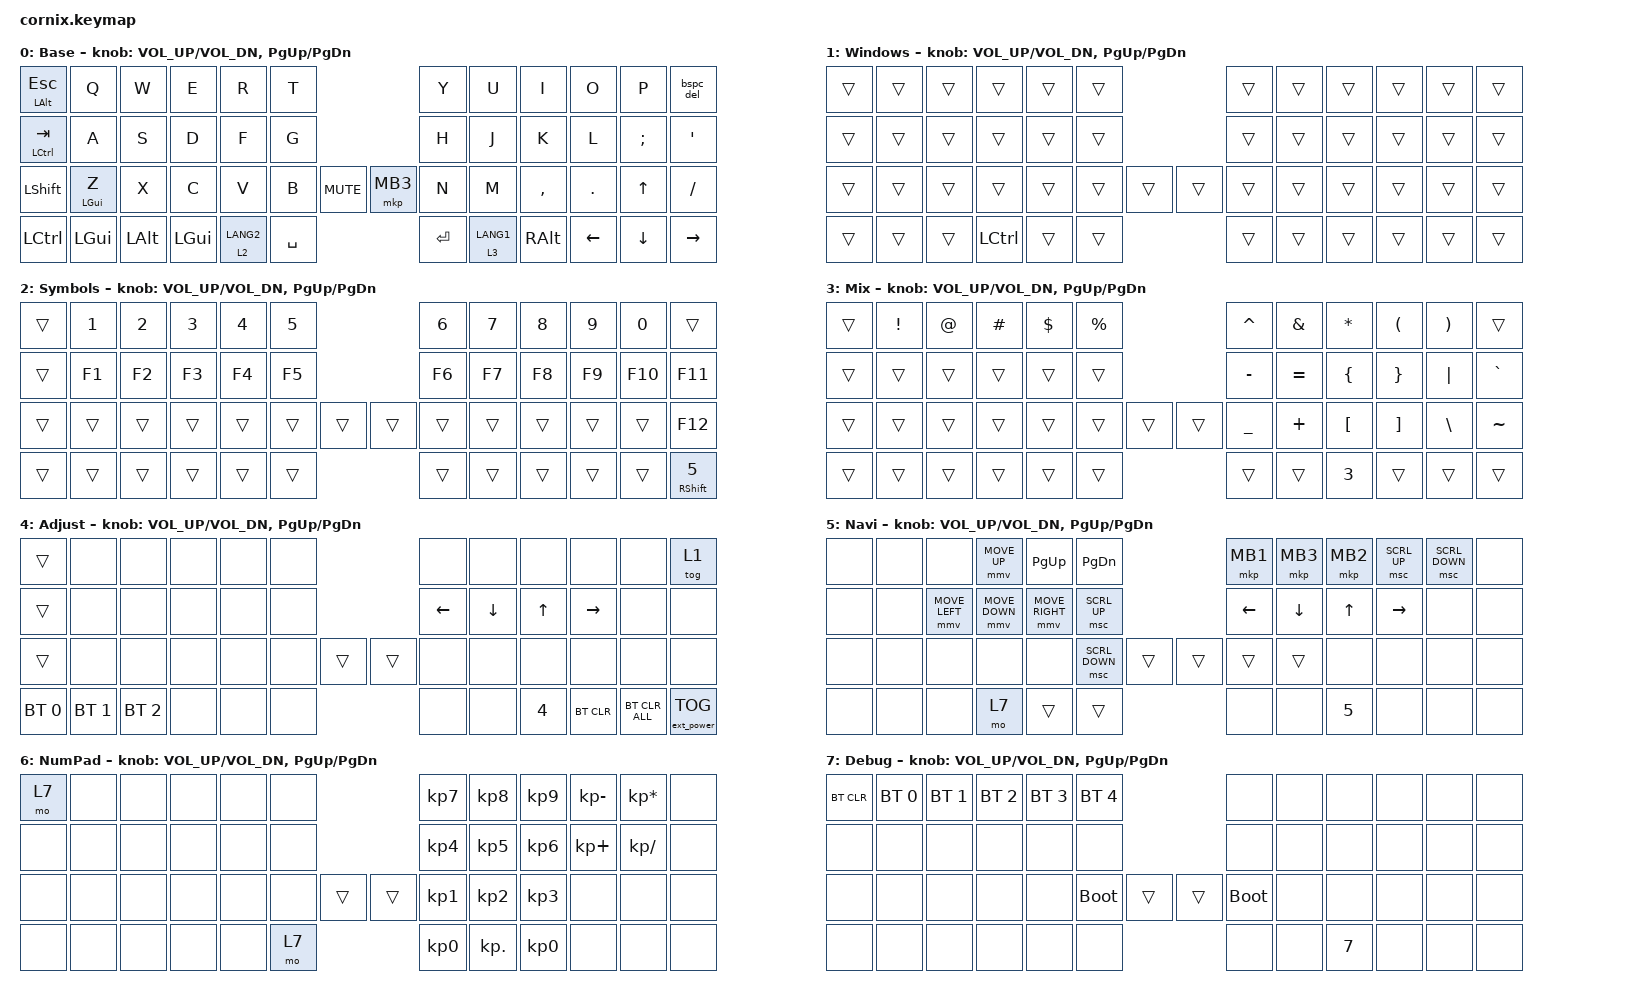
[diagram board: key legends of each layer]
/*
 * Copyright (c) 2020 The ZMK Contributors
 *
 * SPDX-License-Identifier: MIT
 */

#include "zmk-helpers/helper.h"
#include "includes/cornix54.h"
#include <behaviors.dtsi>
#include <dt-bindings/zmk/bt.h>
#include <dt-bindings/zmk/keys.h>

// tap windows for ctl alt and gui

#define HM_TAPPING_TERM 250
#define HM_TAPPING_REPEAT 210

// quick tapping for shift

#define HM_TAPPING_TERM_FAST 200
#define HM_PRIOR_IDLE 70
#define BASE 0
#define WIN 1
#define LOWER 2
#define RAISE 3
#define ADJUST 4
#define NAVI   5
#define NUM    6
#define DEBUG  7

// https://github.com/urob/zmk-config/tree/main#timeless-homerow-mods

#define KEYS_L LT0 LT1 LT2 LT3 LT4 LT5 LM0 LM1 LM2 LM3 LM4 LM5 LB0 LB1 LB2 LB3 LB4 LB5  // left hand
#define KEYS_R RT0 RT1 RT2 RT3 RT4 RT5 RM0 RM1 RM2 RM3 RM4 RM5 RB0 RB1 RB2 RB3 RB4 RB5  // right hand
#define THUMBS LH1 LH0 RH0 RH1
#define KEYS_T LH1 LH0 RH0 RH1
#define ZMK_POINTING_DEFAULT_SCRL_VAL 15

#include <behaviors.dtsi>
#include <dt-bindings/zmk/bt.h>
#include <dt-bindings/zmk/ext_power.h>
#include <dt-bindings/zmk/keys.h>
#include <dt-bindings/zmk/pointing.h>

/ {

    behaviors {
        bspc_del: backspace_delete {
            compatible = "zmk,behavior-mod-morph";
            #binding-cells = <0>;
            bindings = <&kp BACKSPACE>, <&kp DELETE>;
            mods = <(MOD_LSFT|MOD_RSFT)>;
            keep-mods = <(MOD_RSFT)>;
        };
        hm_l: homerow_mods_left {
            compatible = "zmk,behavior-hold-tap";
            #binding-cells = <2>;
            bindings = <&kp>, <&kp>;

            flavor = "balanced";
            tapping-term-ms = <HM_TAPPING_TERM>;
            quick-tap-ms = <200>;                // repeat on tap-into-hold
            require-prior-idle-ms = <HM_PRIOR_IDLE>;
            hold-trigger-key-positions = <KEYS_R KEYS_T>;
            hold-trigger-on-release;
        };

        hm_r: homerow_mods_right {
            compatible = "zmk,behavior-hold-tap";
            #binding-cells = <2>;
            bindings = <&kp>, <&kp>;

            flavor = "balanced";
            tapping-term-ms = <HM_TAPPING_TERM>;
            quick-tap-ms = <200>;
            require-prior-idle-ms = <HM_PRIOR_IDLE>;
            hold-trigger-key-positions = <KEYS_L KEYS_T>;
            hold-trigger-on-release;
        };

        // Positional Homerow mods for shift
        // Use faster tapping term and disable some features that may
        // cause false negatives.

        hm_shift_l: hm_shift_l {
            compatible = "zmk,behavior-hold-tap";
            #binding-cells = <2>;
            bindings = <&kp>, <&kp>;

            //flavor = "balanced";

            flavor = "balanced";
            tapping-term-ms = <HM_TAPPING_TERM_FAST>;
            quick-tap-ms = <200>;
            require-prior-idle-ms = <HM_PRIOR_IDLE>;
            hold-trigger-key-positions = <KEYS_R KEYS_T>;
            hold-trigger-on-release;
        };

        hm_shift_r: hm_shift_r {
            compatible = "zmk,behavior-hold-tap";
            #binding-cells = <2>;
            bindings = <&kp>, <&kp>;

            flavor = "balanced";
            tapping-term-ms = <HM_TAPPING_TERM_FAST>;
            quick-tap-ms = <200>;
            require-prior-idle-ms = <HM_PRIOR_IDLE>;
            hold-trigger-key-positions = <KEYS_L KEYS_T>;

            // for quick tapping; shift+~

            hold-trigger-on-release;
        };

        /*
         * Non-Positional Homerow Mods
         * Used for &mm_grescm_gui behavior on left hand.
         *
         * Usage: &hm LSHFT T
         * Tap: T
         * Tap-Tap-Hold: Repeat T
         * Hold: LSHIFT
         */

        hm: homerow_mods {
            compatible = "zmk,behavior-hold-tap";
            #binding-cells = <2>;
            bindings = <&kp>, <&kp>;

            flavor = "balanced";
            tapping-term-ms = <HM_TAPPING_TERM>;
            quick-tap-ms = <200>;
        };

        lt: layer_tap {
            compatible = "zmk,behavior-hold-tap";
            #binding-cells = <2>;
            bindings = <&mo>, <&kp>;

            flavor = "hold-preferred";
            tapping-term-ms = <HM_TAPPING_TERM>;
            quick-tap-ms = <200>;
        };
    };

    // Activate ADJUST layer by pressing raise and lower
    conditional_layers {
        compatible = "zmk,conditional-layers";

        adjust_layer {
            if-layers = <3 2>;
            then-layer = <4>;
        };
    };

    combos {
        compatible = "zmk,combos";

        cb_ltm {
            bindings = <&kp ESC>;
            key-positions = <2 4>;
            layers = <0 1>;
        };

        cb_lm {
            bindings = <&kp TAB>;
            key-positions = <14 16>;
            layers = <0 1>;
        };

        cb_enter {
            bindings = <&kp RET>;
            key-positions = <21 19>;
            layers = <0 1>;
        };

        layer3 {
            bindings = <&kp N3>;
            key-positions = <5 6>;
        };

        layer4 {
            bindings = <&kp N4>;
            key-positions = <5 6>;
        };
    };

    keymap {
        compatible = "zmk,keymap";

        default_layer {
            display-name = "Base";

            // ------------------------------------------------------------------------------------------------------------
            // |   `   |  1  |  2  |  3   |  4   |  5   |                   |  6   |  7    |  8    |  9   |   0   |       |
            // |  ESC  |  Q  |  W  |  E   |  R   |  T   |                   |  Y   |  U    |  I    |  O   |   P   | BKSPC |
            // |  TAB  |  A  |  S  |  D   |  F   |  G   |                   |  H   |  J    |  K    |  L   |   ;   |   '   |
            // | SHIFT |  Z  |  X  |  C   |  V   |  B   |  MUTE  |  |       |  N   |  M    |  ,    |  .   |   /   | SHIFT |
            //               | GUI | ALT  | CTRL | LOWER|  ENTER |  | SPACE | RAISE| CTRL  | ALT   | GUI  |

            bindings = <
&hm_l LALT ESC  &kp Q        &kp W    &kp E    &kp R        &kp T                          &kp Y     &kp U       &kp I     &kp O    &kp P    &bspc_del
&hm_l LCTRL TAB &kp A        &kp S    &kp D    &kp F        &kp G                          &kp H     &kp J       &kp K     &kp L    &kp SEMI &kp SQT
&kp LSHFT       &hm_l LGUI Z &kp X    &kp C    &kp V        &kp B     &kp C_MUTE  &mkp MB3 &kp N     &kp M       &kp COMMA &kp DOT  &kp UP   &kp FSLH
&kp LCTRL       &kp LGUI     &kp LALT &kp LGUI &lt 2 LANG2  &kp SPACE                      &kp ENTER &lt 3 LANG1 &kp RALT  &kp LEFT &kp DOWN &kp RIGHT
            >;
            sensor-bindings = <&inc_dec_kp C_VOL_UP C_VOL_DN &inc_dec_kp PG_UP PG_DN>;
        };

        win_layer {
            display-name = "Windows";

            // ------------------------------------------------------------------------------------------------------------
            // |   `   |  1  |  2  |  3   |  4   |  5   |                   |  6   |  7    |  8    |  9   |   0   |       |
            // |  ESC  |  Q  |  W  |  E   |  R   |  T   |                   |  Y   |  U    |  I    |  O   |   P   | BKSPC |
            // |  TAB  |  A  |  S  |  D   |  F   |  G   |                   |  H   |  J    |  K    |  L   |   ;   |   '   |
            // | SHIFT |  Z  |  X  |  C   |  V   |  B   |  MUTE  |  |       |  N   |  M    |  ,    |  .   |   /   | SHIFT |
            //               | GUI | ALT  | CTRL | LOWER|  ENTER |  | SPACE | RAISE| CTRL  | ALT   | GUI  |

            bindings = <
&trans  &trans  &trans  &trans   &trans  &trans                  &trans  &trans  &trans  &trans  &trans  &trans
&trans  &trans  &trans  &trans   &trans  &trans                  &trans  &trans  &trans  &trans  &trans  &trans 
&trans  &trans  &trans  &trans   &trans  &trans  &trans  &trans  &trans  &trans  &trans  &trans  &trans  &trans
&trans  &trans  &trans  &kp LCTL &trans  &trans                  &trans  &trans  &trans  &trans  &trans  &trans
            >;
            sensor-bindings = <&inc_dec_kp C_VOL_UP C_VOL_DN &inc_dec_kp PG_UP PG_DN>;
        };

        Symbol_layer {
            display-name = "Symbols";

            // TODO: Some binds are waiting for shifted keycode support.
            // -------------------------------
            // |       |  F1 |  F2 |  F3  |  F4  |  F5  |                   |  F6  |  F7   |  F8   |  F9  |  F10  |  F11  |
            // |   `   |  1  |  2  |  3   |  4   |  5   |                   |  6   |  7    |  8    |  9   |   0   |  F12  |
            // |       |  !  |  @  |  #   |  $   |  %   |                   |  ^   |  &    |  *    |  (   |   )   |   |   |
            // |       |  =  |  -  |  +   |  {   |  }   |        |  |       |  [   |  ]    |  ;    |  :   |   \   |       |
            //               |     |      |      |      |        |  |       |      |       |       |      |

            bindings = <
&trans  &kp N1    &kp N2    &kp N3    &kp N4    &kp N5                     &kp N6     &kp N7        &kp N8     &kp N9     &kp N0    &trans
&trans  &kp F1    &kp F2    &kp F3    &kp F4    &kp F5                     &kp F6     &kp F7        &kp F8     &kp F9     &kp F10   &kp F11
&trans  &trans    &trans    &trans    &trans    &trans     &trans  &trans  &trans     &trans        &trans     &trans     &trans    &kp F12
&trans  &trans    &trans    &trans    &trans    &trans                     &trans     &trans        &trans     &trans     &trans    &hm_shift_r RSHFT N5
            >;
            sensor-bindings = <&inc_dec_kp C_VOL_UP C_VOL_DN &inc_dec_kp PG_UP PG_DN>;
        };

        Mix_layer {
            display-name = "Mix";

            // ------------------------------------------------------------------------------------------------------------
            // | BTCLR | BT1  | BT2  |  BT3  |  BT4  |  BT5 |                |      |      |       |      |       |       |
            // |       | INS  | PSCR | GUI   |       |      |                | PGUP |      |   ^   |      |       |       |
            // |       | ALT  | CTRL | SHIFT |       | CAPS |                | PGDN |   <- |   v   |  ->  |  DEL  | BKSPC |
            // |       | UNDO | CUT  | COPY  | PASTE |      |      |  |      |      |      |       |      |       |       |
            //                |      |       |       |      |      |  |      |      |      |       |      |

            bindings = <
&trans  &kp EXCL &kp AT  &kp HASH &kp DLLR &kp PRCNT                      &kp CARET &kp AMPS   &kp ASTRK  &kp LPAR  &kp RPAR &trans
&trans  &trans   &trans  &trans   &trans   &trans                         &kp MINUS &kp EQUAL  &kp LBRC   &kp RBRC  &kp PIPE &kp GRAVE
&trans  &trans   &trans  &trans   &trans   &trans         &trans  &trans  &kp UNDER &kp PLUS   &kp LBKT   &kp RBKT  &kp BSLH &kp TILDE
&trans  &trans   &trans  &trans   &trans   &trans                         &trans    &trans     &kp N3     &trans    &trans   &trans
            >;
            sensor-bindings = <&inc_dec_kp C_VOL_UP C_VOL_DN &inc_dec_kp PG_UP PG_DN>;
        };

        Adjust_layer {
            display-name = "Adjust";

            // ----------------------------------------------------------------------------------------------------------------------------
            // | BTCLR  |  BT1    |  BT2    |   BT3   |   BT4   |   BT5   |                  |      |      |       |      |       |       |
            // | moDEBUG| RGB_HUD | RGB_HUI | RGB_SAD | RGB_SAI | RGB_EFF |                  |      |      |       |      |       |       |
            // | EXTPWR | RGB_BRD | RGB_BRI |         |         |         |                  |      |      |       |      |       |       |
            // |        |         |         |         |         |         | RGB_TOG | |      |      |      |       |      |       |       |
            //                    |         |         |         |         |         | |      |      |      |       |      |

            bindings = <
&trans       &none        &none        &none        &none        &none                        &none    &none    &none   &none      &none          &tog 1
&trans       &none        &none        &none        &none        &none                        &kp LEFT &kp DOWN &kp UP  &kp RIGHT  &none          &none
&trans       &none        &none        &none        &none        &none        &trans  &trans  &none    &none    &none   &none      &none          &none
&bt BT_SEL 0 &bt BT_SEL 1 &bt BT_SEL 2 &none        &none        &none                        &none    &none    &kp N4  &bt BT_CLR &bt BT_CLR_ALL &ext_power EP_TOG
            >;
            sensor-bindings = <&inc_dec_kp C_VOL_UP C_VOL_DN &inc_dec_kp PG_UP PG_DN>;
        };

        Navi_layer {
            display-name = "Navi";
            bindings = <
&none  &none  &none           &mmv MOVE_UP    &kp PAGE_UP      &kp PAGE_DOWN                   &mkp MB1  &mkp MB3  &mkp MB2  &msc SCRL_UP  &msc SCRL_DOWN  &none
&none  &none  &mmv MOVE_LEFT  &mmv MOVE_DOWN  &mmv MOVE_RIGHT  &msc SCRL_UP                    &kp LEFT  &kp DOWN  &kp UP    &kp RIGHT     &none           &none
&none  &none  &none           &none           &none            &msc SCRL_DOWN  &trans  &trans  &trans    &trans    &none     &none         &none           &none
&none  &none  &none           &mo 7           &trans           &trans                          &none     &none     &kp N5    &none         &none           &none
            >;
            sensor-bindings = <&inc_dec_kp C_VOL_UP C_VOL_DN &inc_dec_kp PG_UP PG_DN>;
        };

        KeyPad_layer {
            display-name = "NumPad";
            bindings = <
&mo 7  &none  &none  &none  &none  &none                  &kp KP_N7        &kp KP_N8        &kp KP_N9        &kp KP_MINUS  &kp KP_MULTIPLY  &none
&none  &none  &none  &none  &none  &none                  &kp KP_NUMBER_4  &kp KP_NUMBER_5  &kp KP_N6        &kp KP_PLUS   &kp KP_DIVIDE    &none
&none  &none  &none  &none  &none  &none  &trans  &trans  &kp KP_NUMBER_1  &kp KP_NUMBER_2  &kp KP_N3        &none         &none            &none
&none  &none  &none  &none  &none  &mo 7                  &kp KP_N0        &kp KP_DOT       &kp KP_NUMBER_0  &none         &none            &none
            >;
            sensor-bindings = <&inc_dec_kp C_VOL_UP C_VOL_DN &inc_dec_kp PG_UP PG_DN>;
        };

        Debug_layer {
            display-name = "Debug";

            // ----------------------------------------------------------------------------------------------------------------------------
            // | BTCLR  |  BT1    |  BT2    |   BT3   |   BT4   |   BT5   |                  |      |      |       |      |       |       |
            // | EXTPWR | BTCLR | RGB_HUI | RGB_SAD | RGB_SAI | RGB_EFF |                  |      |      |       |      |       |       |
            // |        | RGB_BRD | RGB_BRI |         |         |         |                  |      |      |       |      |       |       |
            // |        |         |         |         |         |         | RGB_TOG | |      |      |      |       |      |       |       |
            //                    |         |         |         |         |         | |      |      |      |       |      |

            bindings = <
&bt BT_CLR  &bt BT_SEL 0  &bt BT_SEL 1  &bt BT_SEL 2  &bt BT_SEL 3  &bt BT_SEL 4                  &none        &none  &none   &none  &none  &none
&none       &none         &none         &none         &none         &none                         &none        &none  &none   &none  &none  &none
&none       &none         &none         &none         &none         &bootloader   &trans  &trans  &bootloader  &none  &none   &none  &none  &none
&none       &none         &none         &none         &none         &none                         &none        &none  &kp N7  &none  &none  &none
            >;
            sensor-bindings = <&inc_dec_kp C_VOL_UP C_VOL_DN &inc_dec_kp PG_UP PG_DN>;
        };
    };
};
